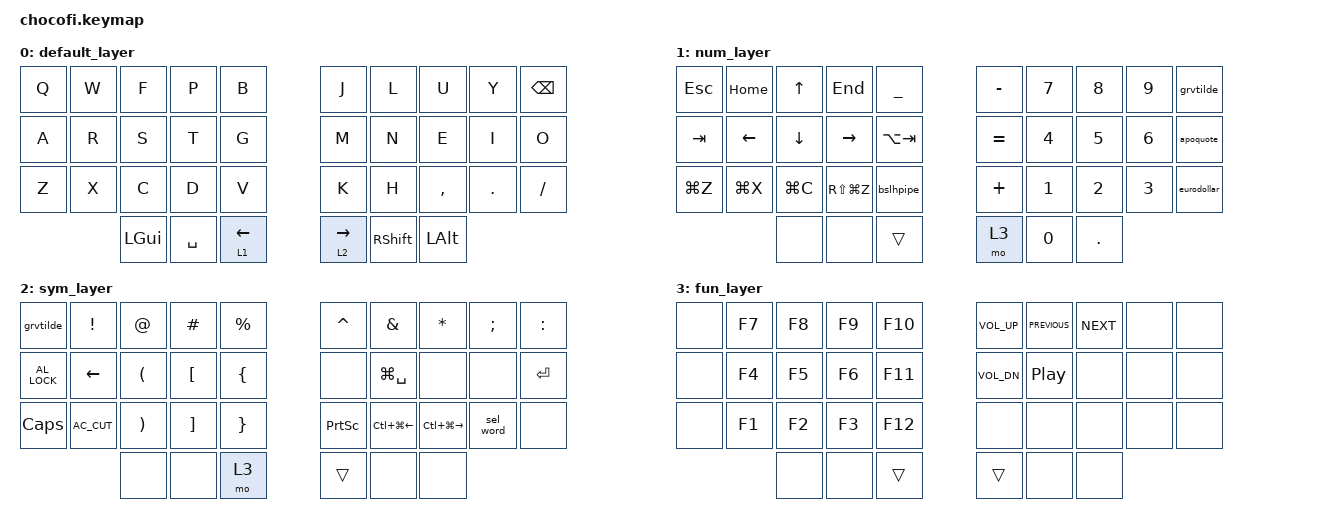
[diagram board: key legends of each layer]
#include <behaviors.dtsi>
#include <dt-bindings/zmk/keys.h>

#define BASE 0
#define EXT  1
#define NAV  2
#define FUN  3
#define ADJ  4// macros definition
#define undo LC(Z)
#define redo LC(LS(Z))
#define prev_screen LC(LG(LEFT))
#define next_screen LC(LG(RIGHT))
#define meh LC(LS(LALT))
#define prev_win LA(TAB)
#define next_win LA(LS(TAB))
#define deg RA(LS(SEMI))// tune mod tap

&mt {
    flavor = "tap-preferred";
    tapping_term_ms = <200>;
};

// caps word settings

&caps_word {
    continue-list = <UNDERSCORE MINUS N1 N2 N3 N4 N5 N6 N7 N8 N9 N0>;
};

// main tree

/ {
    conditional_layers {
        compatible = "zmk,conditional-layers";

        tri_layer {
            if-layers = <NAV FUN>;
            then-layer = <ADJ>;
        };
    };

    behaviors {
        // HOME ROW MODS

        hml: left_hand_positional_hold_tap {
            compatible = "zmk,behavior-hold-tap";
            label = "LEFT_POSITIONAL_HOLD_TAP";
            #binding-cells = <2>;
            flavor = "tap-unless-interrupted";
            tapping-term-ms = <100>;// <---[[produces tap if held longer than tapping-term-ms]]
            quick-tap-ms = <200>;
            bindings =
                <&kp>,
                <&kp>;

            hold-trigger-key-positions = <5 6 7 8 9 15 16 17 18 19 25 26 27 28 29 33 34 35>;// <---[[right-hand keys]]
        };
        hmr: right_hand_positional_hold_tap {
            compatible = "zmk,behavior-hold-tap";
            label = "RIGHT_POSITIONAL_HOLD_TAP";
            #binding-cells = <2>;
            flavor = "tap-unless-interrupted";
            tapping-term-ms = <100>;// <---[[produces tap if held longer than tapping-term-ms]]
            quick-tap-ms = <200>;
            bindings =
                <&kp>,
                <&kp>;

            hold-trigger-key-positions = <0 1 2 3 4 10 11 12 13 14 20 21 22 23 24 30 31 32>;// <---[[right-hand keys]]
        };
        osm: one_shot_mods {
            compatible = "zmk,behavior-hold-tap";
            label = "ONE_SHOT_MODS";
            #binding-cells = <2>;
            tapping-term-ms = <200>;// <---[[moderate duration]]
            quick-tap-ms = <0>;
            flavor = "balanced";
            bindings =
                <&sk>,
                <&kp>;
        };

        // TAP DANCES

        bslhpipe: tap_dance_backslash_pipe {
            compatible = "zmk,behavior-tap-dance";
            label = "TAP_DANCE_BACKSLASH_PIPE";
            #binding-cells = <0>;
            tapping-term-ms = <200>;
            bindings =
                <&kp BSLH>,
                <&kp PIPE>;
        };
        grvtilde: tap_dance_grave_tilde {
            compatible = "zmk,behavior-tap-dance";
            label = "TAP_DANCE_GRAVE_TILDE";
            #binding-cells = <0>;
            tapping-term-ms = <200>;
            bindings =
                <&kp GRAVE>,
                <&kp TILDE>;
        };
        apoquote: tap_dance_apostrophe_quote {
            compatible = "zmk,behavior-tap-dance";
            label = "TAP_DANCE_APOSTROPE_QUOTE";
            #binding-cells = <0>;
            tapping-term-ms = <200>;
            bindings =
                <&kp SQT>,
                <&kp DQT>;
        };
        eurodollar: tap_dance_euro_dollar {
            compatible = "zmk,behavior-tap-dance";
            label = "TAP_DANCE_EURO_DOLLAR";
            #binding-cells = <0>;
            tapping-term-ms = <200>;
            bindings =
                <&kp RA(N5)>,
                <&kp DLLR>;
        };
        close: tap_dance_close {
            compatible = "zmk,behavior-tap-dance";
            label = "TAP_DANCE_CLOSE";
            #binding-cells = <0>;
            tapping-term-ms = <200>;
            bindings =
                <&kp LC(F4)>,
                <&kp LA(F4)>;
        };
    };

    // macros

    macros {
        sel_word: select_word {
            label = "ZM_SELECT_WORD";
            compatible = "zmk,behavior-macro";
            #binding-cells = <0>;
            bindings =
                <&macro_press>,
                <&kp LCTRL>,
                <&macro_tap>,
                <&kp LEFT>,
                <&macro_press>,
                <&kp LSHFT>,
                <&macro_tap>,
                <&kp RIGHT>,
                <&macro_release>,
                <&kp LSHFT &kp LCTRL>;
        };
    };

    // combos for accents dead keys (for US_intl_altgr_deadkeys OS layout)

    combos {
        compatible = "zmk,combos";

        combo_acc {
            timeout-ms = <50>;
            key-positions = <1 2>;
            layers = <0>;
            bindings = <&kp RA(SINGLE_QUOTE)>;
        };

        combo_grv {
            timeout-ms = <50>;
            key-positions = <2 3>;
            layers = <0>;
            bindings = <&kp RA(GRAVE)>;
        };

        combo_delwrd {
            bindings = <&kp LA(DEL)>;
            key-positions = <8 9>;
        };
    };

    keymap {
        compatible = "zmk,keymap";

        default_layer {
            // ----------------------------------------------------------------------------------------------------------------------------
            // |    Q    |    W    |    F    |    P    |    B    |                      |    J    |    L    |    I    |    Y    |    ;    |
            // |    A    |    R    |    S    |    T    |    G    |                      |    M    |    N    |    E    |    I    |    O    |
            // |    Z    |    X    |    C    |    D    |    V    |                      |    K    |    H    |    ,    |    .    |    /    |
            //                               |   ESC   |  SPACE  |   TAB   |  |  RETURN |BACKSPACE|   DEL   |

            bindings = <
  &kp Q   &kp W     &kp F      &kp P             &kp B              &kp J       &kp L         &kp U    &kp Y  &kp BACKSPACE
  &kp A   &kp R     &kp S      &kp T             &kp G              &kp M       &kp N         &kp E    &kp I          &kp O
  &kp Z   &kp X     &kp C      &kp D             &kp V              &kp K       &kp H     &kp COMMA  &kp DOT       &kp FSLH
                 &kp LGUI  &kp SPACE  &lt 1 LEFT_ARROW  &lt 2 RIGHT_ARROW  &kp RSHIFT  &kp LEFT_ALT
            >;
        };

        num_layer {
            bindings = <
   &kp ESC        &kp HOME          &kp UP          &kp END    &kp UNDER  &kp MINUS  &kp N7      &kp N8  &kp N9    &grvtilde
   &kp TAB  &kp LEFT_ARROW  &kp DOWN_ARROW  &kp RIGHT_ARROW  &kp LA(TAB)  &kp EQUAL  &kp N4      &kp N5  &kp N6    &apoquote
 &kp LG(Z)       &kp LG(X)       &kp LG(C)    &kp RS(LG(Z))    &bslhpipe   &kp PLUS  &kp N1      &kp N2  &kp N3  &eurodollar
                                     &none            &none       &trans      &mo 3  &kp N0  &kp PERIOD
            >;
        };

        sym_layer {
            bindings = <
     &grvtilde  &kp EXCLAMATION                 &kp AT           &kp HASH      &kp PERCENT  &kp CARET          &kp AMPS           &kp STAR  &kp SEMICOLON  &kp COLON
 &kp C_AL_LOCK   &kp LEFT_ARROW   &kp LEFT_PARENTHESIS   &kp LEFT_BRACKET   &kp LEFT_BRACE      &none     &kp LG(SPACE)              &none          &none  &kp ENTER
      &kp CAPS     &kp C_AC_CUT  &kp RIGHT_PARENTHESIS  &kp RIGHT_BRACKET  &kp RIGHT_BRACE  &kp PSCRN  &kp LC(LG(LEFT))  &kp LC(LG(RIGHT))      &sel_word      &none
                                                 &none              &none            &mo 3     &trans             &none              &none
            >;
        };

        fun_layer {
            bindings = <
  &none  &kp F7  &kp F8  &kp F9  &kp F10  &kp C_VOL_UP    &kp C_PREVIOUS  &kp C_NEXT   &none   &none
  &none  &kp F4  &kp F5  &kp F6  &kp F11  &kp C_VOL_DN  &kp C_PLAY_PAUSE       &none   &none   &none
  &none  &kp F1  &kp F2  &kp F3  &kp F12         &none             &none       &none   &none   &none
                  &none   &none   &trans        &trans             &none       &none
            >;
        };
    };
};

